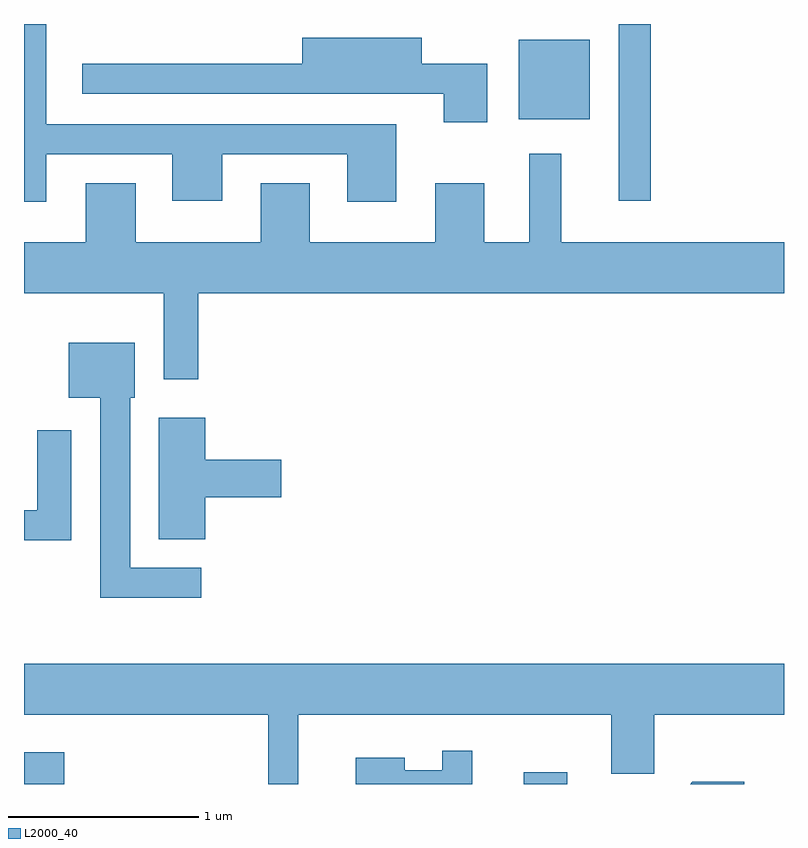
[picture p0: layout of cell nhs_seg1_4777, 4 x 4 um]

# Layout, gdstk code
import gdstk
lib = gdstk.Library(unit=1e-6, precision=1e-09)
def R(c, l, rs):  # rectangles x0, y0, x1, y1
    for r in rs: c.add(gdstk.rectangle(r[:2], r[2:], *l))
def P(c, l, *ps):  # polygons
    for p in ps: c.add(gdstk.Polygon(p, *l))
L2000_40 = (2000, 40)

nhs_seg1_4777 = lib.new_cell('nhs_seg1_4777')
R(nhs_seg1_4777, L2000_40, [(329.611,843.712,329.824,843.879), (332.241,843.712,332.469,843.774), (332.741,846.783,332.909,847.712), (332.216,847.211,332.589,847.629)])
P(nhs_seg1_4777, L2000_40, [(329.729,847.026),(330.391,847.026),(330.391,846.781),(330.654,846.781),(330.654,847.026),(331.311,847.026),(331.311,846.776),(331.569,846.776),(331.569,847.184),(329.729,847.184),(329.729,847.712),(329.611,847.712),(329.611,846.776),(329.729,846.776)],
  [(332.049,847.504),(331.704,847.504),(331.704,847.639),(331.076,847.639),(331.076,847.504),(329.918,847.504),(329.918,847.346),(331.821,847.346),(331.821,847.196),(332.049,847.196)],
  [(330.529,846.296),(333.611,846.296),(333.611,846.564),(332.439,846.564),(332.439,847.028),(332.271,847.028),(332.271,846.564),(332.034,846.564),(332.034,846.874),(331.776,846.874),(331.776,846.564),(331.114,846.564),(331.114,846.874),(330.856,846.874),(330.856,846.564),(330.199,846.564),(330.199,846.874),(329.936,846.874),(329.936,846.564),(329.611,846.564),(329.611,846.296),(330.346,846.296),(330.346,845.841),(330.529,845.841)],
  [(330.543,844.849),(330.169,844.849),(330.169,845.746),(330.194,845.746),(330.194,846.034),(329.846,846.034),(329.846,845.746),(330.011,845.746),(330.011,844.691),(330.543,844.691)],
  [(330.564,845.221),(330.964,845.221),(330.964,845.419),(330.564,845.419),(330.564,845.639),(330.321,845.639),(330.321,845.001),(330.564,845.001)],
  [(329.859,845.574),(329.681,845.574),(329.681,845.154),(329.611,845.154),(329.611,844.996),(329.859,844.996)],
  [(331.054,844.076),(332.701,844.076),(332.701,843.766),(332.929,843.766),(332.929,844.076),(333.611,844.076),(333.611,844.344),(329.611,844.344),(329.611,844.076),(330.896,844.076),(330.896,843.712),(331.054,843.712)],
  [(331.969,843.888),(331.811,843.888),(331.811,843.784),(331.614,843.784),(331.614,843.849),(331.356,843.849),(331.356,843.712),(331.969,843.712)],
  [(333.403,843.724),(333.129,843.724),(333.117,843.712),(333.403,843.712)])

lib.write_gds('nhs_seg1_4777.gds')
